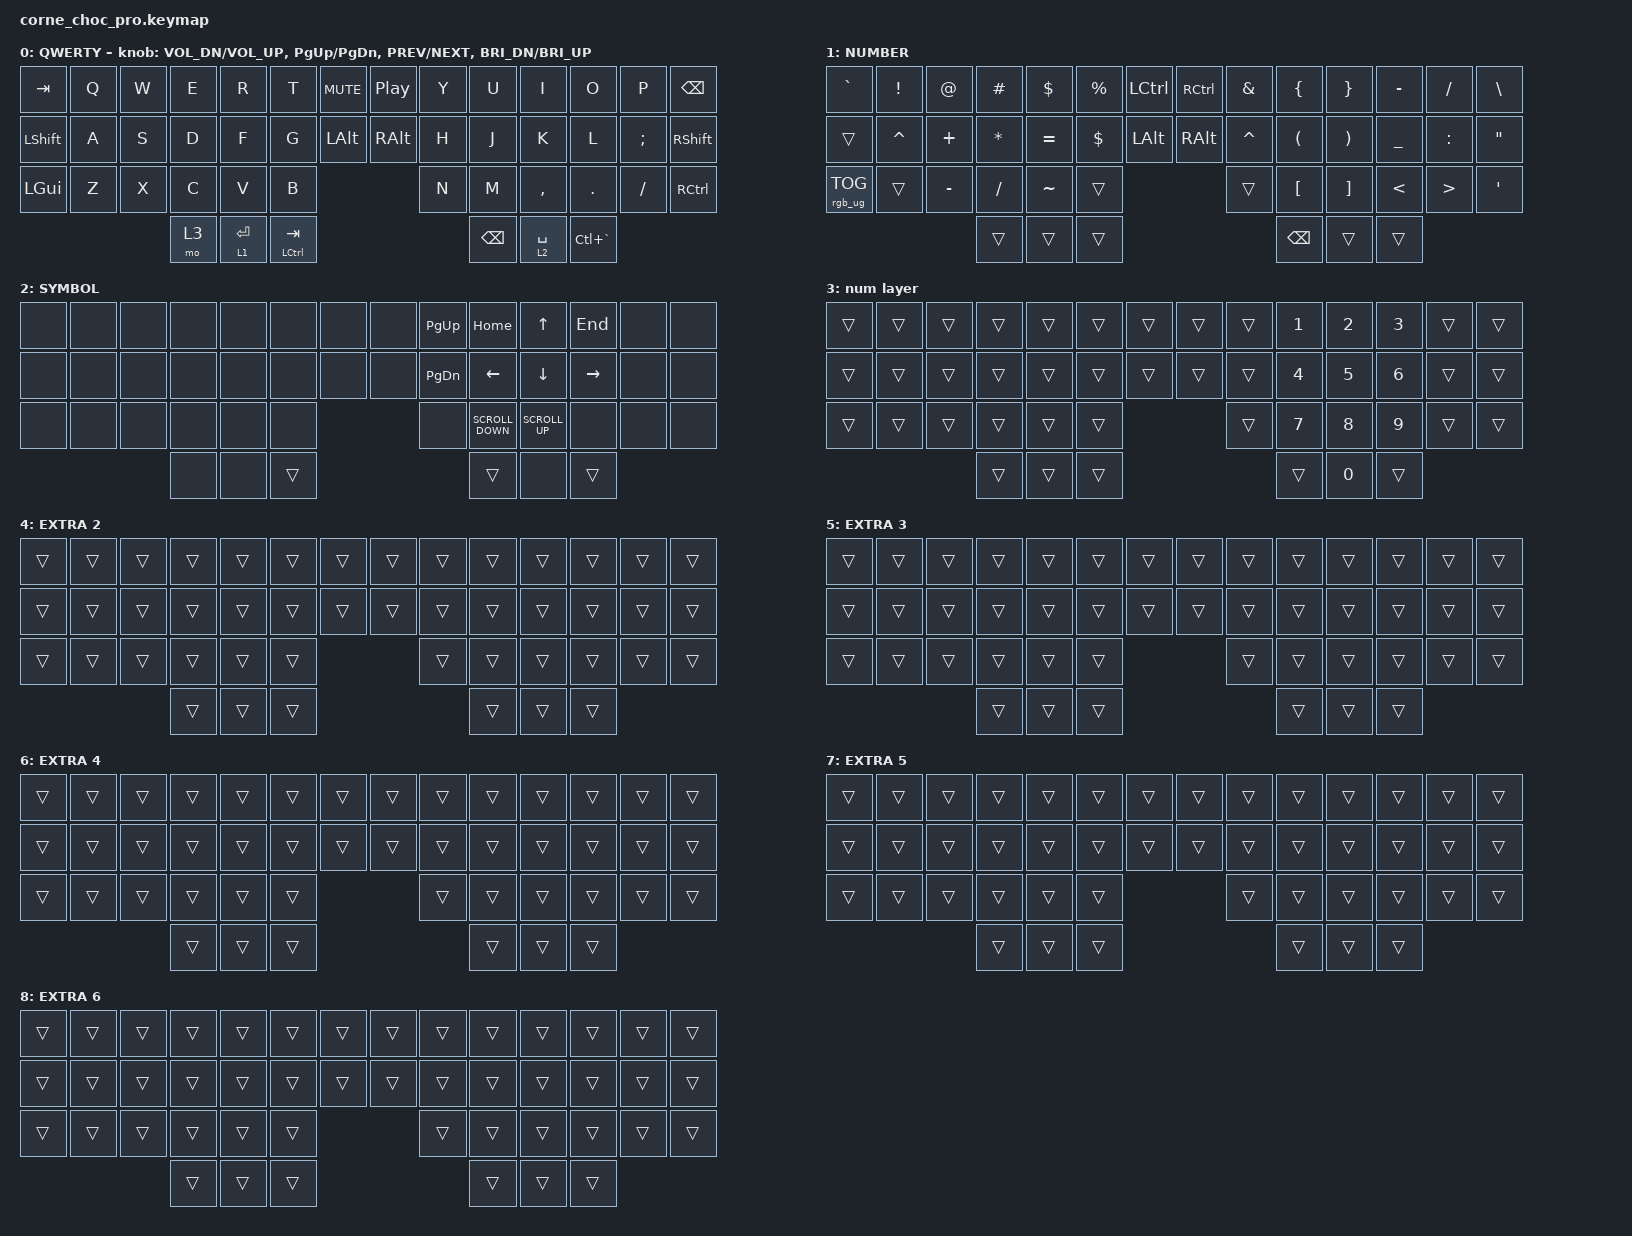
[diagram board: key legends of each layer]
/*
 * Copyright (c) 2020 The ZMK Contributors
 *
 * SPDX-License-Identifier: MIT
 */

#include <behaviors.dtsi>
#include <dt-bindings/zmk/keys.h>
#include <dt-bindings/zmk/bt.h>
#include <dt-bindings/zmk/rgb.h>

/ {
    chosen {
        zmk,physical-layout = &default_layout;
    };
};

/ {
    keymap {
        compatible = "zmk,keymap";

        default_layer {
            display-name = "QWERTY";
            // --------------------------------------------------------------------------------
            // |  TAB |  Q  |  W  |  E  |  R  |  T  |  MUTE |  PP   |  Y  |  U   |  I  |  O  |  P  | BSPC |
            // | SHFT |  A  |  S  |  D  |  F  |  G  |  LALT |  RALT |  H  |  J   |  K  |  L  |  ;  | SHFT |
            // | WNDW |  Z  |  X  |  C  |  V  |  B  |               |  N  |  M   |  ,  |  .  |  /  | CTRL |
            //                    | GUI | LWRENTR | TAB |               | BSPC| RSESPACE  | ALT |
            bindings = <
                &kp TAB   &kp Q &kp W &kp E &kp R &kp T &kp C_MUTE &kp C_PP &kp Y &kp U  &kp I     &kp O   &kp P    &kp BSPC
                &kp LSHFT &kp A &kp S &kp D &kp F &kp G &kp LALT   &kp RALT &kp H &kp J  &kp K     &kp L   &kp SEMI &kp RSHFT
                &kp LGUI  &kp Z &kp X &kp C &kp V &kp B                     &kp N &kp M  &kp COMMA &kp DOT &kp FSLH &kp RCTRL
                                      &mo 3 &lt 1 RET &mt LCTRL TAB            &kp BSPC &lt 2 SPACE &kp LC(GRAVE)
            >;
            sensor-bindings = <&inc_dec_kp C_VOL_DN C_VOL_UP &inc_dec_kp PG_UP PG_DN &inc_dec_kp C_PREV C_NEXT &inc_dec_kp C_BRI_DN C_BRI_UP>;
        };

        lower_layer {
            display-name = "NUMBER";
            // -----------------------------------------------------------------------------------------
            // |   `  |  !  |  @  |  #  |  $  |  %    |  LCTRL |  ****  | RCTRL |  &  |  {  |  }  |  -  |  /  |  \   |
            // |      |  ^  |  +  |  *  |  =  |  $    |  LALT  |  ****  | RALT  |  ^  |  (  |  )  |  _  |  :  |  "   |
            // | RGB  |     |  -  |  /  |  ~  |       |  nokey |  ****  | nokey |     |  [  |  ]  |  <  |  >  |  '   |
            //                    |     |     |       |        |  ****  | BSPC  |     |     |
            bindings = <
                &kp GRAVE &kp EXCL     &kp AT    &kp HASH  &kp DLLR  &kp PRCNT &kp LCTRL      &kp RCTRL &kp AMPS  &kp LBRC &kp RBRC &kp MINUS &kp FSLH  &kp BSLH
                &trans    &kp CARET    &kp PLUS  &kp ASTRK &kp EQUAL &kp DLLR  &kp LALT       &kp RALT  &kp CARET &kp LPAR &kp RPAR &kp UNDER &kp COLON &kp DQT
                &rgb_ug RGB_TOG &trans &kp MINUS &kp FSLH  &kp TILDE &trans                             &trans    &kp LBKT &kp RBKT &kp LT    &kp GT    &kp SQT
                &trans     &trans       &trans                                                &kp BSPC &trans   &trans
            >;
        };

        raise_layer {
            display-name = "SYMBOL";
            // -----------------------------------------------------------------------------------------
            // |      |     |     |     |     |     |       |       | pgup | home | up   |  end  |    |    |
            // |      |     |     |     |     |     |       |       | pgdn | left | down | right |    |    |
            // |      |     |     |     |     |     |               |      |scroll|scroll|       |    |    |
            //                    |     |     |     |               |      |      |      |
            bindings = <
                &none &none &none &none &none &none &none     &none  &kp PG_UP &kp HOME &kp UP   &kp END   &none &none
                &none &none &none &none &none &none &none     &none  &kp PG_DN &kp LEFT &kp DOWN &kp RIGHT &none &none
                &none &none &none &none &none &none                  &none &kp K_SCROLL_DOWN &kp K_SCROLL_UP &none &none &none
                    &none &none &trans                               &trans   &none    &trans
            >;
        };

        extra_layer_1 {
            display-name = "num layer";
            bindings = <
                &trans &trans &trans &trans &trans &trans &trans &trans &trans &kp N1 &kp N2 &kp N3 &trans &trans
                &trans &trans &trans &trans &trans &trans &trans &trans &trans &kp N4 &kp N5 &kp N6 &trans &trans
                &trans &trans &trans &trans &trans &trans               &trans &kp N7 &kp N8 &kp N9 &trans &trans
                                     &trans &trans &trans               &trans &kp N0 &trans       
            >;
        };

        extra_layer_2 {
            display-name = "EXTRA 2";
            bindings = <
                &trans &trans &trans &trans &trans &trans &trans &trans &trans &trans &trans &trans &trans &trans
                &trans &trans &trans &trans &trans &trans &trans &trans &trans &trans &trans &trans &trans &trans
                &trans &trans &trans &trans &trans &trans               &trans &trans &trans &trans &trans &trans
                                     &trans &trans &trans               &trans &trans &trans       
            >;
        };

        extra_layer_3 {
            display-name = "EXTRA 3";
            bindings = <
                &trans &trans &trans &trans &trans &trans &trans &trans &trans &trans &trans &trans &trans &trans
                &trans &trans &trans &trans &trans &trans &trans &trans &trans &trans &trans &trans &trans &trans
                &trans &trans &trans &trans &trans &trans               &trans &trans &trans &trans &trans &trans
                                     &trans &trans &trans               &trans &trans &trans       
            >;
        };

        extra_layer_4 {
            display-name = "EXTRA 4";
            bindings = <
                &trans &trans &trans &trans &trans &trans &trans &trans &trans &trans &trans &trans &trans &trans
                &trans &trans &trans &trans &trans &trans &trans &trans &trans &trans &trans &trans &trans &trans
                &trans &trans &trans &trans &trans &trans               &trans &trans &trans &trans &trans &trans
                                     &trans &trans &trans               &trans &trans &trans       
            >;
        };

        extra_layer_5 {
            display-name = "EXTRA 5";
            bindings = <
                &trans &trans &trans &trans &trans &trans &trans &trans &trans &trans &trans &trans &trans &trans
                &trans &trans &trans &trans &trans &trans &trans &trans &trans &trans &trans &trans &trans &trans
                &trans &trans &trans &trans &trans &trans               &trans &trans &trans &trans &trans &trans
                                     &trans &trans &trans               &trans &trans &trans       
            >;
        };

        extra_layer_6 {
            display-name = "EXTRA 6";
            bindings = <
                &trans &trans &trans &trans &trans &trans &trans &trans &trans &trans &trans &trans &trans &trans
                &trans &trans &trans &trans &trans &trans &trans &trans &trans &trans &trans &trans &trans &trans
                &trans &trans &trans &trans &trans &trans               &trans &trans &trans &trans &trans &trans
                                     &trans &trans &trans               &trans &trans &trans       
            >;
        };

        combos {
            compatible = "zmk,combos";

            jk_to_esc {                      /* give it any label you like */
                timeout-ms = <30>;            /* 30 ms gap max between taps */
                key-positions = < 23 24 >;    /* index of  J  and  K  keys  */
                bindings      = < &kp ESC >;  /* send Esc when both down    */
            };
        };
    };
};
